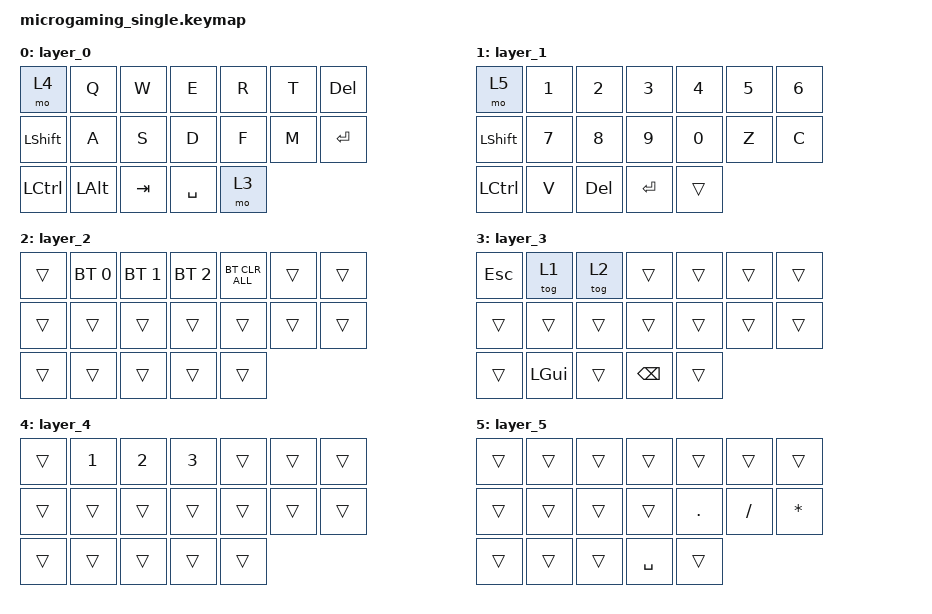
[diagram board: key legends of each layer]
#include <behaviors.dtsi>
#include <dt-bindings/zmk/keys.h>
#include <dt-bindings/zmk/bt.h>
 / {
     keymap {
         compatible = "zmk,keymap";

         layer_0 {
             bindings = <
                        &mo 4 &kp Q &kp W &kp E &kp R &kp T &kp DEL
                        &kp LSHFT &kp A &kp S &kp D &kp F &kp M &kp ENTER
                        &kp LCTRL &kp LEFT_ALT &kp TAB &kp SPACE &mo 3
                    >;
         };
         layer_1 {
             bindings = <
                        &mo 5 &kp N1 &kp N2 &kp N3 &kp N4 &kp N5 &kp N6
                        &kp LSHFT &kp N7 &kp N8 &kp N9 &kp N0 &kp Z &kp C
                        &kp LCTRL &kp V &kp DEL &kp ENTER &trans
                    >;
         };

         layer_2 {
             bindings = <
                        &trans &bt BT_SEL 0 &bt BT_SEL 1 &bt BT_SEL 2 &bt BT_CLR_ALL &trans &trans
                        &trans &trans &trans &trans &trans &trans &trans
                        &trans &trans &trans &trans &trans
                    >;
         };

         layer_3 {
             bindings = <
                        &kp ESC &tog 1 &tog 2 &trans &trans &trans &trans
                        &trans &trans &trans &trans &trans &trans &trans
                        &trans &kp LGUI &trans &kp BSPC &trans
                    >;
         };
         
         layer_4 {
            bindings = <
                        &trans &kp N1 &kp N2 &kp N3 &trans &trans &trans
                        &trans &trans &trans &trans &trans &trans &trans
                        &trans &trans &trans &trans &trans
                    >;
         };

         layer_5 {
            bindings = <
                        &trans &trans &trans &trans &trans &trans &trans
                        &trans &trans &trans &trans &kp DOT &kp SLASH &kp ASTERISK
                        &trans &trans &trans &kp SPACE &trans
                    >;
         };
     };
 };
